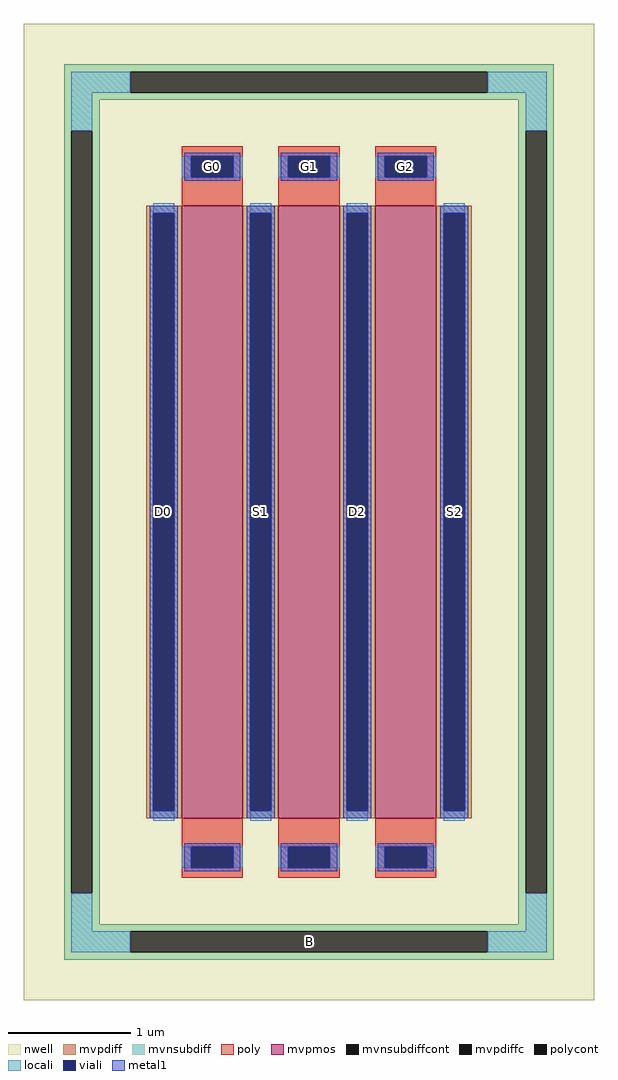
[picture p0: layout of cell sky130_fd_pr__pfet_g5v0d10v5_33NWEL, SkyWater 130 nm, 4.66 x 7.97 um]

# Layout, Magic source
magic
tech sky130A
magscale 1 2
<< nwell >>
rect -466 -797 466 797
<< mvpmos >>
rect -208 -500 -108 500
rect -50 -500 50 500
rect 108 -500 208 500
<< mvpdiff >>
rect -266 488 -208 500
rect -266 -488 -254 488
rect -220 -488 -208 488
rect -266 -500 -208 -488
rect -108 488 -50 500
rect -108 -488 -96 488
rect -62 -488 -50 488
rect -108 -500 -50 -488
rect 50 488 108 500
rect 50 -488 62 488
rect 96 -488 108 488
rect 50 -500 108 -488
rect 208 488 266 500
rect 208 -488 220 488
rect 254 -488 266 488
rect 208 -500 266 -488
<< mvpdiffc >>
rect -254 -488 -220 488
rect -96 -488 -62 488
rect 62 -488 96 488
rect 220 -488 254 488
<< mvnsubdiff >>
rect -400 719 400 731
rect -400 685 -292 719
rect 292 685 400 719
rect -400 673 400 685
rect -400 623 -342 673
rect -400 -623 -388 623
rect -354 -623 -342 623
rect 342 623 400 673
rect -400 -673 -342 -623
rect 342 -623 354 623
rect 388 -623 400 623
rect 342 -673 400 -623
rect -400 -685 400 -673
rect -400 -719 -292 -685
rect 292 -719 400 -685
rect -400 -731 400 -719
<< mvnsubdiffcont >>
rect -292 685 292 719
rect -388 -623 -354 623
rect 354 -623 388 623
rect -292 -719 292 -685
<< poly >>
rect -208 581 -108 597
rect -208 547 -192 581
rect -124 547 -108 581
rect -208 500 -108 547
rect -50 581 50 597
rect -50 547 -34 581
rect 34 547 50 581
rect -50 500 50 547
rect 108 581 208 597
rect 108 547 124 581
rect 192 547 208 581
rect 108 500 208 547
rect -208 -547 -108 -500
rect -208 -581 -192 -547
rect -124 -581 -108 -547
rect -208 -597 -108 -581
rect -50 -547 50 -500
rect -50 -581 -34 -547
rect 34 -581 50 -547
rect -50 -597 50 -581
rect 108 -547 208 -500
rect 108 -581 124 -547
rect 192 -581 208 -547
rect 108 -597 208 -581
<< polycont >>
rect -192 547 -124 581
rect -34 547 34 581
rect 124 547 192 581
rect -192 -581 -124 -547
rect -34 -581 34 -547
rect 124 -581 192 -547
<< locali >>
rect -388 685 -292 719
rect 292 685 388 719
rect -388 623 -354 685
rect 354 623 388 685
rect -208 547 -192 581
rect -124 547 -108 581
rect -50 547 -34 581
rect 34 547 50 581
rect 108 547 124 581
rect 192 547 208 581
rect -254 488 -220 504
rect -254 -504 -220 -488
rect -96 488 -62 504
rect -96 -504 -62 -488
rect 62 488 96 504
rect 62 -504 96 -488
rect 220 488 254 504
rect 220 -504 254 -488
rect -208 -581 -192 -547
rect -124 -581 -108 -547
rect -50 -581 -34 -547
rect 34 -581 50 -547
rect 108 -581 124 -547
rect 192 -581 208 -547
rect -388 -685 -354 -623
rect 354 -685 388 -623
rect -388 -719 -292 -685
rect 292 -719 388 -685
<< viali >>
rect -192 547 -124 581
rect -34 547 34 581
rect 124 547 192 581
rect -254 -488 -220 488
rect -96 -488 -62 488
rect 62 -488 96 488
rect 220 -488 254 488
rect -192 -581 -124 -547
rect -34 -581 34 -547
rect 124 -581 192 -547
<< metal1 >>
rect -204 581 -112 587
rect -204 547 -192 581
rect -124 547 -112 581
rect -204 541 -112 547
rect -46 581 46 587
rect -46 547 -34 581
rect 34 547 46 581
rect -46 541 46 547
rect 112 581 204 587
rect 112 547 124 581
rect 192 547 204 581
rect 112 541 204 547
rect -260 488 -214 500
rect -260 -488 -254 488
rect -220 -488 -214 488
rect -260 -500 -214 -488
rect -102 488 -56 500
rect -102 -488 -96 488
rect -62 -488 -56 488
rect -102 -500 -56 -488
rect 56 488 102 500
rect 56 -488 62 488
rect 96 -488 102 488
rect 56 -500 102 -488
rect 214 488 260 500
rect 214 -488 220 488
rect 254 -488 260 488
rect 214 -500 260 -488
rect -204 -547 -112 -541
rect -204 -581 -192 -547
rect -124 -581 -112 -547
rect -204 -587 -112 -581
rect -46 -547 46 -541
rect -46 -581 -34 -547
rect 34 -581 46 -547
rect -46 -587 46 -581
rect 112 -547 204 -541
rect 112 -581 124 -547
rect 192 -581 204 -547
rect 112 -587 204 -581
<< labels >>
rlabel mvnsubdiffcont 0 -702 0 -702 0 B
port 1 nsew
rlabel mvpdiffc -237 0 -237 0 0 D0
port 2 nsew
rlabel polycont -158 564 -158 564 0 G0
port 3 nsew
rlabel mvpdiffc -79 0 -79 0 0 S1
port 4 nsew
rlabel polycont 0 564 0 564 0 G1
port 5 nsew
rlabel mvpdiffc 79 0 79 0 0 D2
port 6 nsew
rlabel mvpdiffc 237 0 237 0 0 S2
port 7 nsew
rlabel polycont 158 564 158 564 0 G2
port 8 nsew
<< properties >>
string FIXED_BBOX -371 -702 371 702
string gencell sky130_fd_pr__pfet_g5v0d10v5
string library sky130
string parameters w 5 l 0.50 m 1 nf 3 diffcov 100 polycov 100 guard 1 glc 1 grc 1 gtc 1 gbc 1 tbcov 100 rlcov 100 topc 1 botc 1 poverlap 0 doverlap 1 lmin 0.50 wmin 0.42 class mosfet compatible {sky130_fd_pr__pfet_01v8  sky130_fd_pr__pfet_01v8_lvt sky130_fd_pr__pfet_01v8_hvt  sky130_fd_pr__pfet_g5v0d10v5} full_metal 1 conn_gates 0 viasrc 100 viadrn 100 viagate 100 viagb 0 viagr 0 viagl 0 viagt 0 doports 1
<< end >>
